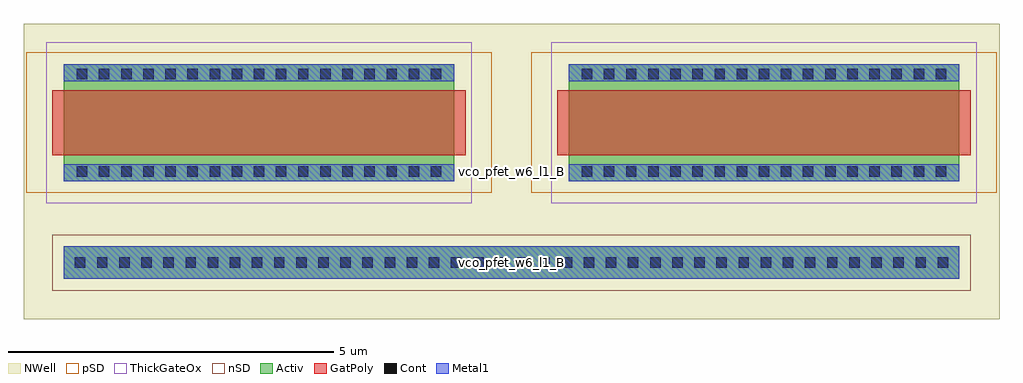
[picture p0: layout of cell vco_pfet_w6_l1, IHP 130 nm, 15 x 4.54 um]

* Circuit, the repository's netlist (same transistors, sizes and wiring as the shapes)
* extracted by klt extract --deck sg13cmos5l

* cell vco_pfet_w6_l1
* pin VDD_VCO
.SUBCKT vco_pfet_w6_l1 VDD_VCO
* device instance $1 r0 *1 4.3,3.36 pfet
X$1 \$6 \$2 \$3 VDD_VCO sg13_hv_pmos L=1U W=6U AS=2.4P AD=2.4P PS=12.8U PD=12.8U
* device instance $2 r0 *1 12.26,3.36 pfet
X$2 \$7 \$4 \$5 VDD_VCO sg13_hv_pmos L=1U W=6U AS=2.4P AD=2.4P PS=12.8U PD=12.8U
.ENDS vco_pfet_w6_l1

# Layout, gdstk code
import gdstk
lib = gdstk.Library(unit=1e-6, precision=1e-09)
def R(c, l, rs):  # rectangles x0, y0, x1, y1
    for r in rs: c.add(gdstk.rectangle(r[:2], r[2:], *l))
def A(c, l, x, y, w, h, nx, ny, dx, dy):  # array of equal rectangles
    R(c, l, [(x+i*dx, y+j*dy, x+i*dx+w, y+j*dy+h) for i in range(nx) for j in range(ny)])
Activ = (1, 0)
GatPoly = (5, 0)
Cont = (6, 0)
nSD = (7, 0)
Metal1 = (8, 0)
pSD = (14, 0)
NWell = (31, 0)
ThickGateOx = (44, 0)

vco_pfet_w6_l1 = lib.new_cell('vco_pfet_w6_l1')
R(vco_pfet_w6_l1, Activ, [(1.2,0.96,14.96,1.46), (1.2,2.46,7.2,4.26), (8.96,2.46,14.96,4.26)])
R(vco_pfet_w6_l1, GatPoly, [(1.02,2.86,7.38,3.86), (8.78,2.86,15.14,3.86)])
A(vco_pfet_w6_l1, Cont, 1.37, 1.13, 0.16, 0.16, 40, 1, 0.34, 0)
A(vco_pfet_w6_l1, Cont, 1.4, 2.53, 0.16, 0.16, 17, 2, 0.34, 1.5)
A(vco_pfet_w6_l1, Cont, 9.16, 2.53, 0.16, 0.16, 17, 2, 0.34, 1.5)
R(vco_pfet_w6_l1, nSD, [(1.02,0.78,15.14,1.64)])
R(vco_pfet_w6_l1, Metal1, [(1.2,0.96,14.96,1.46), (1.2,2.46,7.2,2.72), (8.96,2.46,14.96,2.72), (1.2,4,7.2,4.26), (8.96,4,14.96,4.26)])
R(vco_pfet_w6_l1, pSD, [(0.62,2.28,7.78,4.44), (8.38,2.28,15.54,4.44)])
R(vco_pfet_w6_l1, NWell, [(0.58,0.34,15.58,4.88)])
R(vco_pfet_w6_l1, ThickGateOx, [(0.93,2.12,7.47,4.6), (8.69,2.12,15.23,4.6)])
vco_pfet_w6_l1.add(gdstk.Label('vco_pfet_w6_l1_B', (8.08,1.21), layer=8, texttype=2))
vco_pfet_w6_l1.add(gdstk.Label('vco_pfet_w6_l1_B', (8.08,2.61), layer=31, texttype=2))

lib.write_gds('vco_pfet_w6_l1.gds')
